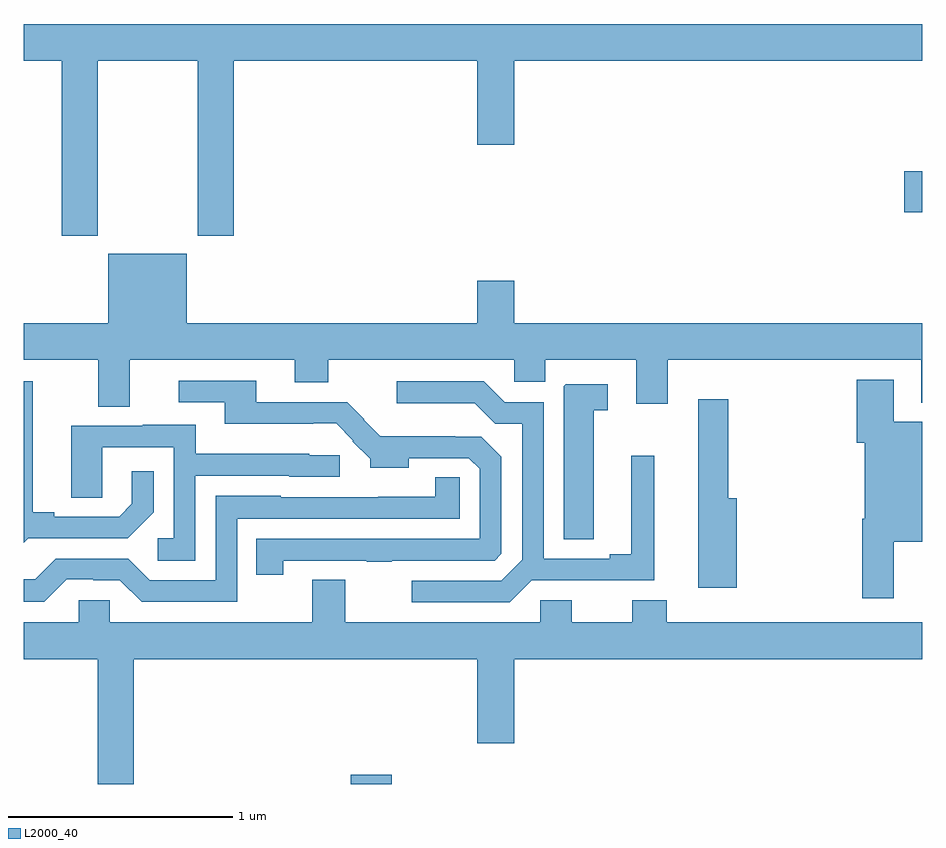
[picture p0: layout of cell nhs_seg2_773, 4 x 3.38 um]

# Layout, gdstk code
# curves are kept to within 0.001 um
import gdstk
lib = gdstk.Library(unit=1e-6, precision=1e-09)
def R(c, l, rs):  # rectangles x0, y0, x1, y1
    for r in rs: c.add(gdstk.rectangle(r[:2], r[2:], *l))
def P(c, l, *ps):  # polygons
    for p in ps: c.add(gdstk.Polygon(p, *l))
L2000_40 = (2000, 40)

nhs_seg2_773 = lib.new_cell('nhs_seg2_773')
R(nhs_seg2_773, L2000_40, [(152.456,593.8,152.639,593.842), (154.92,596.345,155,596.528)])
P(nhs_seg2_773, L2000_40, [(151.329,597.02),(151.774,597.02),(151.774,596.241),(151.934,596.241),(151.934,597.02),(153.02,597.02),(153.02,596.646),(153.184,596.646),(153.184,597.02),(155,597.02),(155,597.184),(151,597.184),(151,597.02),(151.169,597.02),(151.169,596.241),(151.329,596.241)],
  [(151.471,595.688),(152.207,595.688),(152.207,595.589),(152.355,595.589),(152.355,595.688),(153.183,595.688),(153.183,595.59),(153.322,595.59),(153.322,595.688),(153.728,595.688),(153.728,595.494),(153.868,595.494),(153.868,595.688),(154.997,595.688),(154.997,595.498),(155,595.498),(155,595.852),(153.184,595.852),(153.184,596.041),(153.02,596.041),(153.02,595.852),(151.726,595.852),(151.726,596.161),(151.376,596.161),(151.376,595.852),(151,595.852),(151,595.688),(151.331,595.688),(151.331,595.48),(151.471,595.48)],
  [(154.873,594.878),(155,594.878),(155,595.413),(154.873,595.413),(154.873,595.6),(154.709,595.6),(154.709,595.32),(154.745,595.32),(154.745,594.982),(154.733,594.982),(154.733,594.627),(154.873,594.627)],
  [(152.154,594.795),(152.527,594.795),(152.527,594.79),(152.639,594.79),(152.639,594.795),(153.096,594.795),(153.126,594.825),(153.126,595.257),(153.037,595.346),(152.921,595.346),(152.921,595.348),(152.587,595.348),(152.513,595.421),(152.515,595.423),(152.439,595.5),(152.035,595.5),(152.035,595.596),(151.689,595.596),(151.689,595.5),(151.895,595.5),(151.895,595.403),(152.288,595.403),(152.288,595.406),(152.39,595.406),(152.466,595.329),(152.463,595.326),(152.542,595.248),(152.542,595.208),(152.713,595.208),(152.713,595.251),(152.982,595.251),(153.03,595.203),(153.03,594.891),(152.035,594.891),(152.035,594.732),(152.154,594.732)],
  [(151.02,594.894),(151.462,594.894),(151.578,595.01),(151.578,595.192),(151.481,595.192),(151.481,595.047),(151.424,594.99),(151.135,594.99),(151.135,595.01),(151.039,595.01),(151.039,595.593),(151,595.593),(151,594.874)],
  [(153.262,594.708),(153.808,594.708),(153.808,595.261),(153.704,595.261),(153.704,594.824),(153.608,594.824),(153.608,594.804),(153.315,594.804),(153.315,595.5),(153.141,595.5),(153.048,595.593),(152.661,595.593),(152.661,595.496),(153.007,595.496),(153.098,595.405),(153.219,595.405),(153.219,594.798),(153.126,594.705),(152.727,594.705),(152.727,594.609),(153.163,594.609)],
  [(153.538,595.465),(153.601,595.465),(153.601,595.581),(153.414,595.581),(153.404,595.571),(153.404,594.889),(153.538,594.889)],
  [(154.175,595.072),(154.136,595.072),(154.136,595.513),(154.004,595.513),(154.004,594.674),(154.175,594.674)],
  [(151.764,595.173),(152.181,595.173),(152.181,595.167),(152.406,595.167),(152.406,595.263),(152.271,595.263),(152.271,595.27),(151.765,595.27),(151.765,595.399),(151.529,595.399),(151.529,595.395),(151.211,595.395),(151.211,595.075),(151.35,595.075),(151.35,595.299),(151.668,595.299),(151.668,594.894),(151.596,594.894),(151.596,594.793),(151.764,594.793)],
  [(151.191,594.711),(151.308,594.711),(151.308,594.708),(151.428,594.708),(151.524,594.612),(151.95,594.612),(151.95,594.981),(152.94,594.981),(152.94,595.166),(152.832,595.166),(152.832,595.078),(152.145,595.077),(152.145,595.084),(151.854,595.084),(151.854,594.708),(151.56,594.708),(151.464,594.804),(151.143,594.804),(151.05,594.711),(151,594.711),(151,594.611),(151.091,594.611)],
  [(151.49,594.356),(153.02,594.356),(153.02,593.982),(153.184,593.982),(153.184,594.356),(155,594.356),(155,594.52),(153.863,594.52),(153.863,594.619),(153.71,594.619),(153.71,594.52),(153.439,594.52),(153.439,594.618),(153.3,594.618),(153.3,594.52),(152.431,594.52),(152.431,594.71),(152.284,594.71),(152.284,594.52),(151.383,594.52),(151.383,594.618),(151.245,594.618),(151.245,594.52),(151,594.52),(151,594.356),(151.33,594.356),(151.33,593.8),(151.49,593.8)])

lib.write_gds('nhs_seg2_773.gds')
